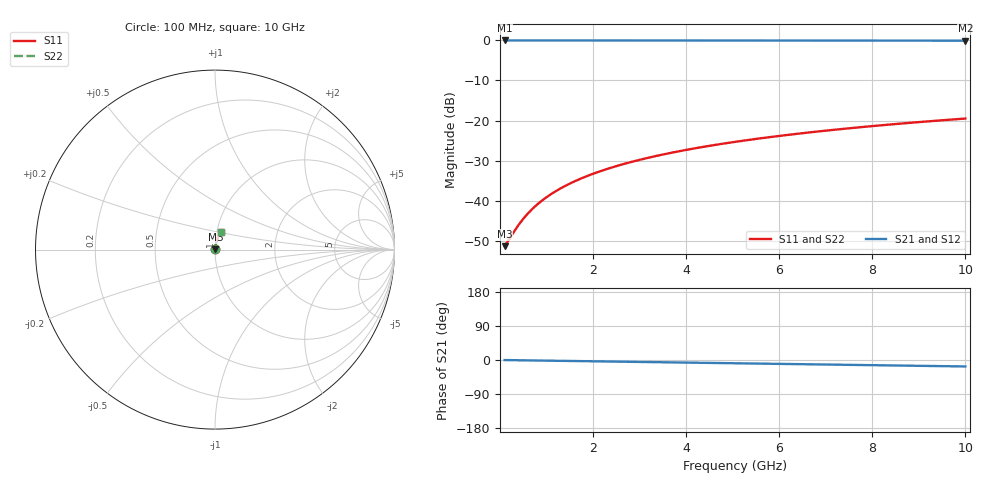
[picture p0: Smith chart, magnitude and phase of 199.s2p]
# Hz S RI R 50.00
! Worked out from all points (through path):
!   100 points, 100 MHz to 10 GHz, reference 50 ohm
!   highest |S21| = -0.02 dB at 100 MHz (marker M1); lowest = -0.1 dB at 10 GHz (marker M2)
!   group delay of S21, straight-line fit = 4.74 ps
!   lowest |S11| = -51.3 dB at 100 MHz (marker M3), VSWR 1.01, Z = 50.3 + j0.108 ohm
!   |S11| at or under -10 dB: start of sweep to end of sweep
!   |S22| runs from -51.3 to -19.5 dB; largest |S21 - S12| = 0
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1e8  0.0025 0.00107  0.9975 -0.00297  0.9975 -0.00297  0.0025 0.00107
2e8  0.00253 0.00214  0.9975 -0.00594  0.9975 -0.00594  0.00253 0.00214
4e8  0.00258 0.00428  0.9974 -0.0119  0.9974 -0.0119  0.00258 0.00428
5e8  0.00262 0.00535  0.9973 -0.0149  0.9973 -0.0149  0.00262 0.00535
6e8  0.00266 0.00642  0.9973 -0.0178  0.9973 -0.0178  0.00266 0.00642
7e8  0.00271 0.00749  0.9972 -0.0208  0.9972 -0.0208  0.00271 0.00749
8e8  0.00276 0.00856  0.9971 -0.0238  0.9971 -0.0238  0.00276 0.00856
1e9  0.00289 0.0107  0.9969 -0.0297  0.9969 -0.0297  0.00289 0.0107
1.2e9  0.00304 0.0128  0.9967 -0.0356  0.9967 -0.0356  0.00304 0.0128
1.5e9  0.00331 0.016  0.9963 -0.0445  0.9963 -0.0445  0.00331 0.016
1.8e9  0.00363 0.0192  0.9958 -0.0534  0.9958 -0.0534  0.00363 0.0192
2.1e9  0.00401 0.0224  0.9952 -0.0623  0.9952 -0.0623  0.00401 0.0224
2.5e9  0.00461 0.0267  0.9942 -0.0742  0.9942 -0.0742  0.00461 0.0267
2.9e9  0.0053 0.0309  0.9931 -0.086  0.9931 -0.086  0.0053 0.0309
3.4e9  0.00631 0.0361  0.9915 -0.1007  0.9915 -0.1007  0.00631 0.0361
4.2e9  0.00825 0.0445  0.9885 -0.1243  0.9885 -0.1243  0.00825 0.0445
5.1e9  0.0109 0.0537  0.9843 -0.1506  0.9843 -0.1506  0.0109 0.0537
5.9e9  0.0137 0.0618  0.9799 -0.1739  0.9799 -0.1739  0.0137 0.0618
6.7e9  0.0168 0.0697  0.9749 -0.1971  0.9749 -0.1971  0.0168 0.0697
7.5e9  0.0203 0.0775  0.9693 -0.2201  0.9693 -0.2201  0.0203 0.0775
8.4e9  0.0247 0.086  0.9623 -0.2457  0.9623 -0.2457  0.0247 0.086
1e10  0.0336 0.1006  0.9479 -0.2906  0.9479 -0.2906  0.0336 0.1006
